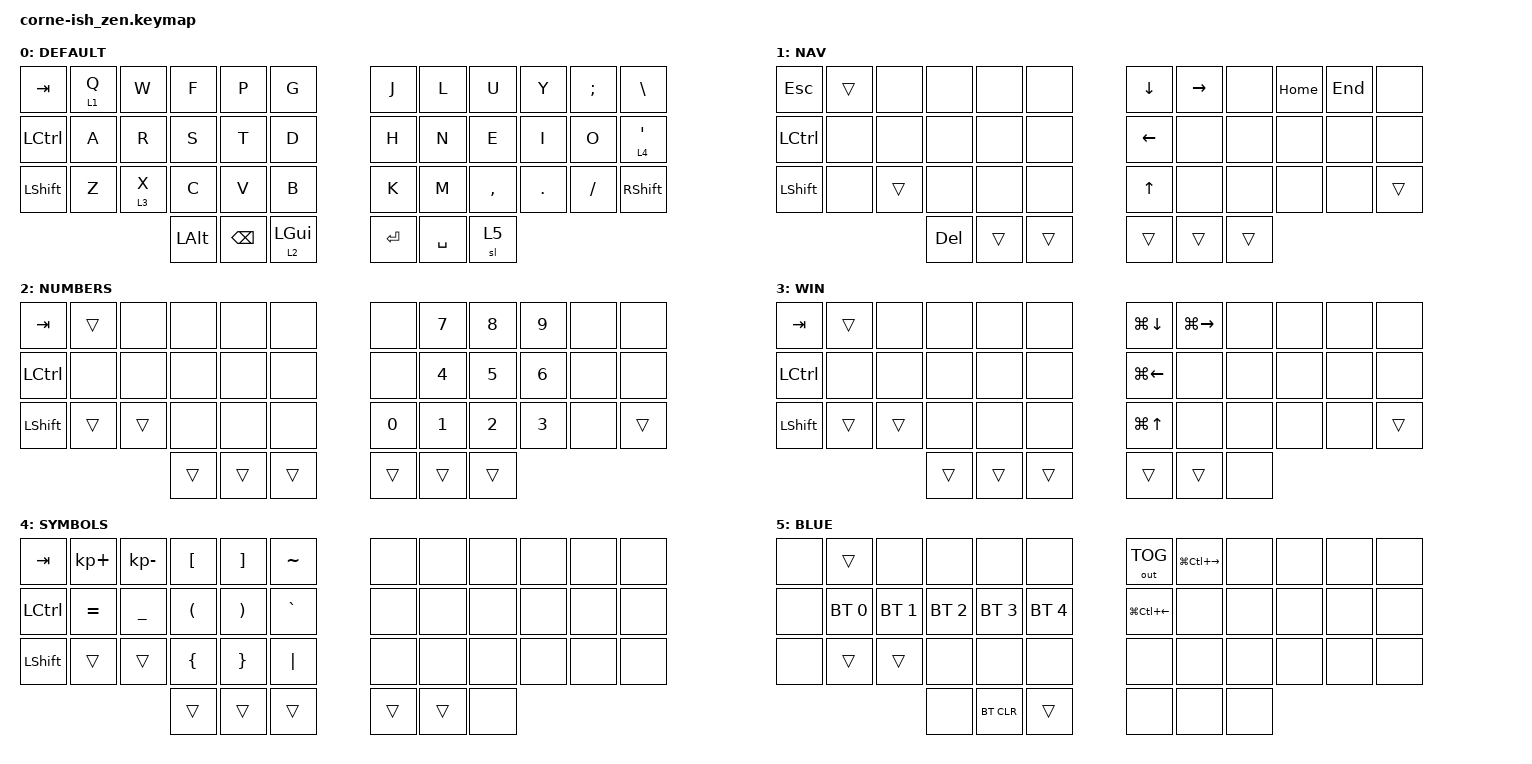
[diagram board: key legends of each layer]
/*
*
* Copyright (c) 2021 lowproaaa.ca
* SPDX-License-Identifier: MIT
*
*/

#include <behaviors.dtsi>
#include <dt-bindings/zmk/outputs.h>
#include <dt-bindings/zmk/keys.h>
#include <dt-bindings/zmk/bt.h>

#define DEFAULT 0
#define NAV 1
#define NUM 2
#define WIN 3
#define SYM 4
#define BLUE 5

/ {
        keymap {
                compatible = "zmk,keymap";

                default_layer {
						label = "DEFAULT";
// ---------------------------------------------------------------------------------------------------------------------------------
// |   TAB   | Q (nav) |    W    |    F    |    P    |    G    |      |    J    |    L     |    U    |    Y    |    ;    |    \    |
// |   CTRL  |    A    |    R    |    S    |    T    |    D    |      |    H    |    N     |    E    |    I    |    O    |    '    |
// |   SHIFT |    Z    | X (win+)|    C    |    V    |    B    |      |    K    |    M     |    ,    |    .    |    /    |   SHFT  |
//                               |   ALT   |   BSPC  |GUI (NUM)|      |   ENT   |  SPACE   |   BT?   |
// ---------------------------------------------------------------------------------------------------------------------------------
                        bindings = <
   &kp TAB   &lt 1 Q   &kp W     &kp F     &kp P     &kp G            &kp J     &kp L      &kp U     &kp Y     &kp SEMI  &kp BSLH
   &kp LCTRL &kp A     &kp R     &kp S     &kp T     &kp D            &kp H     &kp N      &kp E     &kp I     &kp O     &lt 4 APOS
   &kp LSHFT &kp Z     &lt 3 X   &kp C     &kp V     &kp B            &kp K     &kp M      &kp COMMA &kp DOT   &kp FSLH  &kp RSHFT
                                 &kp LALT  &kp BSPC  &lt 2 LGUI       &kp RET   &kp SPACE  &sl 5
                        >;
                };

                nav_layer {
						label = "NAV";
// ---------------------------------------------------------------------------------------------------------------------------------
// |   ESC   |         |         |         |         |         |      |   DOWN  |  RIGHT   |         |   HOME  |   END   |         |
// |   CTRL  |         |         |         |         |         |      |   LEFT  |          |         |         |         |         |
// |   SHIFT |         |         |         |         |         |      |   UP    |          |         |         |         |   SHFT  |
//                               |   DEL   |   BSPC  |   GUI   |      |   ENT   |  SPACE   |         |
// ---------------------------------------------------------------------------------------------------------------------------------
                        bindings = <
   &kp ESC   &trans    &none     &none     &none     &none            &kp DOWN  &kp RIGHT  &none     &kp HOME  &kp END   &none
   &kp LCTRL &none     &none     &none     &none     &none            &kp LEFT  &none      &none     &none     &none     &none
   &kp LSHFT &none     &trans    &none     &none     &none            &kp UP    &none      &none     &none     &none     &trans
                                 &kp DEL   &trans    &trans           &trans    &trans     &trans
                        >;
                };

                numpad_layer {
						label = "NUMBERS";
// ---------------------------------------------------------------------------------------------------------------------------------
// |   TAB   |         |         |         |         |         |      |         |    7     |    8    |    9    |         |         |
// |   CTRL  |         |         |         |         |         |      |         |    4     |    5    |    6    |         |         |
// |   SHIFT |         |         |         |         |         |      |    0    |    1     |    2    |    3    |         |   SHFT  |
//                               |   ALT   |   BSPC  |   GUI   |      |   ENT   |  SPACE   |         |
// ---------------------------------------------------------------------------------------------------------------------------------
                        bindings = <
   &kp TAB   &trans    &none     &none     &none     &none            &none     &kp N7     &kp N8    &kp N9    &none     &none
   &kp LCTRL &none     &none     &none     &none     &none            &none     &kp N4     &kp N5    &kp N6    &none     &none
   &kp LSHFT &trans    &trans    &none     &none     &none            &kp N0    &kp N1     &kp N2    &kp N3    &none     &trans
                                 &trans    &trans    &trans           &trans    &trans     &trans
                        >;
                };

                win_layer {
						label = "WIN";
// ---------------------------------------------------------------------------------------------------------------------------------
// |   TAB   |         |         |         |         |         |      | WIN+DOWN| WIN+RIGHT|         |         |         |         |
// |   CTRL  |         |         |         |         |         |      | WIN+LEFT|          |         |         |         |         |
// |   SHIFT |         |         |         |         |         |      | WIN+UP  |          |         |         |         |   SHFT  |
//                               |   ALT   |   BSPC  |   GUI   |      |   ENT   |  SPACE   |         |
// ---------------------------------------------------------------------------------------------------------------------------------
                        bindings = <
   &kp TAB   &trans    &none     &none     &none     &none            &kp LG(DOWN)  &kp LG(RIGHT)  &none     &none     &none     &none
   &kp LCTRL &none     &none     &none     &none     &none            &kp LG(LEFT)  &none      	   &none     &none     &none     &none
   &kp LSHFT &trans    &trans    &none     &none     &none            &kp LG(UP)    &none      	   &none     &none     &none     &trans
                                 &trans    &trans    &trans           &trans        &trans         &none
                        >;
                };

                sym_layer {
						label = "SYMBOLS";
// ---------------------------------------------------------------------------------------------------------------------------------
// |   TAB   |    +    |    -    |    [    |    ]    |    ~    |      |         |          |         |         |         |         |
// |   CTRL  |    =    |    _    |    (    |    )    |    `    |      |         |          |         |         |         |         |
// |   SHIFT |         |         |    {    |    }    |   PIPE  |      |         |          |         |         |         |         |
//                               |   ALT   |   BSPC  |   GUI   |      |   ENT   |  SPACE   |         |
// ---------------------------------------------------------------------------------------------------------------------------------
                        bindings = <
   &kp TAB    &kp KP_PLUS   &kp KP_MINUS  &kp LBKT   &kp RBKT  &kp TILDE     &none        &none        &none         &none        &none         &none
   &kp LCTRL  &kp EQUAL     &kp UNDER     &kp LPAR   &kp RPAR  &kp GRAVE     &none        &none        &none         &none        &none         &none
   &kp LSHFT  &trans        &trans        &kp LBRC   &kp RBRC  &kp PIPE      &none        &none        &none         &none        &none         &none
                                          &trans     &trans    &trans        &trans       &trans       &none
                        >;
                };
				

                bt_layer {
						label = "BLUE";
// ---------------------------------------------------------------------------------------------------------------------------------
// |         |         |         |         |         |         |      | Output  | V_WIN_R  |         |         |         |         |
// |         |   BT 1  |   BT 2  |   BT 3  |   BT 4  |   BT 5  |      | V_WIN_L |          |         |         |         |         |
// |         |         |         |         |         |         |      |         |          |         |         |         |         |
//                               |         | BT CLEAR|         |      |         |          |         |
// ---------------------------------------------------------------------------------------------------------------------------------
                        bindings = <
   &none     &trans	  &none        &none         &none        &none         &out OUT_TOG      &kp LG(LC(RIGHT)) &none     &none     &none     &none
   &none     &bt BT_SEL 0 &bt BT_SEL 1 &bt BT_SEL 2  &bt BT_SEL 3 &bt BT_SEL 4  &kp LG(LC(LEFT))  &none             &none     &none     &none     &none
   &none     &trans       &trans       &none         &none        &none         &none             &none             &none     &none     &none     &none
                                       &none         &bt BT_CLR   &trans        &none             &none             &none
                        >;
                };
        };
};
